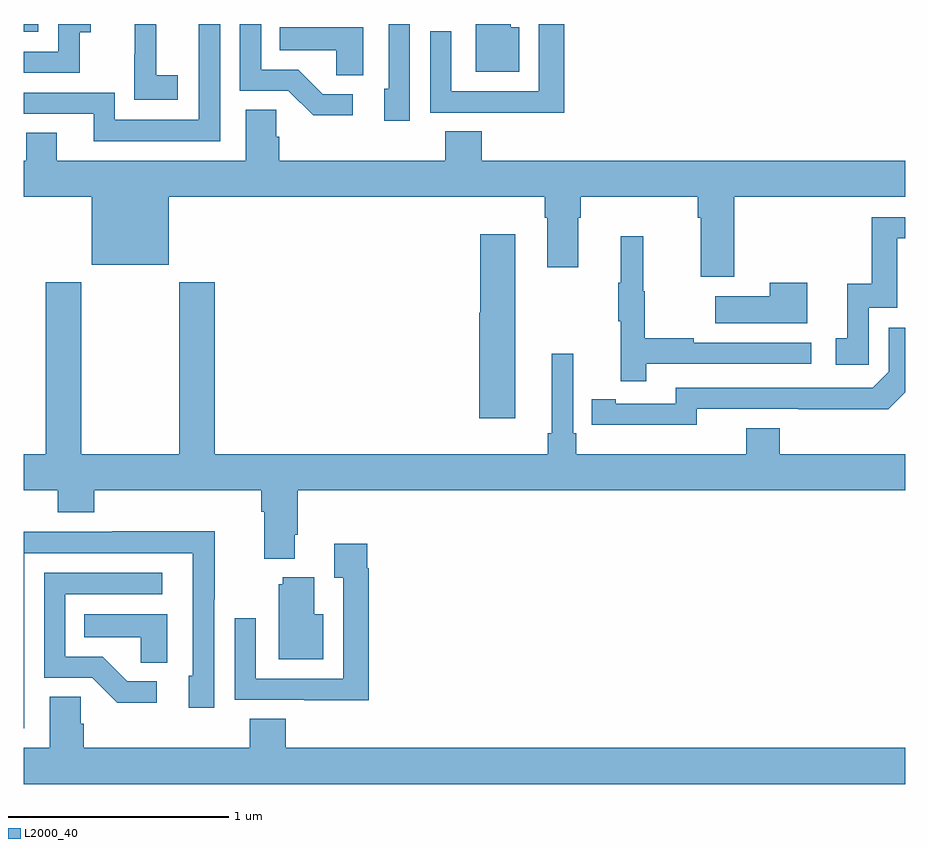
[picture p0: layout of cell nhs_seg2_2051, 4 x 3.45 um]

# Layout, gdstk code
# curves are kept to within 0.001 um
import gdstk
lib = gdstk.Library(unit=1e-6, precision=1e-09)
def R(c, l, rs):  # rectangles x0, y0, x1, y1
    for r in rs: c.add(gdstk.rectangle(r[:2], r[2:], *l))
def P(c, l, *ps):  # polygons
    for p in ps: c.add(gdstk.Polygon(p, *l))
L2000_40 = (2000, 40)

nhs_seg2_2051 = lib.new_cell('nhs_seg2_2051')
R(nhs_seg2_2051, L2000_40, [(219,601.764,219.066,601.8)])
P(nhs_seg2_2051, L2000_40, [(221.248,601.786),(221.209,601.786),(221.209,601.8),(221.051,601.8),(221.051,601.583),(221.248,601.583)],
  [(219.255,601.763),(219.304,601.763),(219.304,601.8),(219.156,601.8),(219.156,601.674),(219,601.674),(219,601.578),(219.255,601.578)],
  [(220.752,601.8),(220.656,601.8),(220.656,601.506),(220.637,601.506),(220.637,601.362),(220.752,601.362)],
  [(219.7,601.567),(219.602,601.567),(219.602,601.796),(219.6,601.796),(219.6,601.8),(219.503,601.8),(219.503,601.663),(219.502,601.663),(219.502,601.457),(219.7,601.457)],
  [(220.492,601.482),(220.357,601.482),(220.246,601.593),(220.077,601.593),(220.077,601.8),(219.981,601.8),(219.981,601.497),(220.2,601.497),(220.313,601.385),(220.492,601.385)],
  [(221.453,601.8),(221.337,601.8),(221.337,601.494),(220.941,601.494),(220.941,601.768),(220.845,601.768),(220.845,601.398),(221.161,601.398),(221.161,601.397),(221.453,601.397)],
  [(219.891,601.8),(219.795,601.8),(219.795,601.365),(219.414,601.365),(219.414,601.488),(219,601.488),(219,601.392),(219.317,601.392),(219.317,601.269),(219.891,601.269)],
  [(220.54,601.786),(220.162,601.786),(220.162,601.682),(220.419,601.682),(220.419,601.567),(220.54,601.567)],
  [(219.308,600.707),(219.658,600.707),(219.658,601.016),(221.363,601.016),(221.363,600.92),(221.375,600.92),(221.375,600.696),(221.515,600.696),(221.515,600.92),(221.528,600.92),(221.528,601.016),(222.059,601.016),(222.059,600.92),(222.071,600.92),(222.071,600.654),(222.224,600.654),(222.224,601.016),(223,601.016),(223,601.18),(221.078,601.18),(221.078,601.313),(220.913,601.313),(220.913,601.18),(220.16,601.18),(220.16,601.289),(220.146,601.289),(220.146,601.412),(220.007,601.412),(220.007,601.18),(219.151,601.18),(219.151,601.307),(219.012,601.307),(219.012,601.18),(219,601.18),(219,601.016),(219.308,601.016)],
  [(222.834,600.513),(222.963,600.513),(222.963,600.828),(223,600.828),(223,600.924),(222.847,600.924),(222.847,600.622),(222.737,600.622),(222.737,600.375),(222.684,600.375),(222.684,600.255),(222.834,600.255)],
  [(221.23,600.847),(221.072,600.847),(221.072,600.489),(221.066,600.489),(221.066,600.012),(221.23,600.012)],
  [(221.825,600.258),(222.574,600.258),(222.574,600.354),(222.041,600.354),(222.041,600.374),(221.818,600.374),(221.818,600.588),(221.81,600.588),(221.81,600.838),(221.708,600.838),(221.708,600.625),(221.697,600.625),(221.697,600.451),(221.708,600.451),(221.708,600.18),(221.825,600.18)],
  [(220.231,599.482),(220.244,599.482),(220.244,599.684),(223,599.684),(223,599.848),(222.431,599.848),(222.431,599.965),(222.278,599.965),(222.278,599.848),(221.507,599.848),(221.507,599.944),(221.493,599.944),(221.493,600.304),(221.396,600.304),(221.396,599.944),(221.377,599.944),(221.377,599.848),(219.866,599.848),(219.866,600.628),(219.706,600.628),(219.706,599.848),(219.261,599.848),(219.261,600.628),(219.101,600.628),(219.101,599.848),(219,599.848),(219,599.684),(219.155,599.684),(219.155,599.585),(219.32,599.585),(219.32,599.684),(220.079,599.684),(220.079,599.588),(220.091,599.588),(220.091,599.375),(220.231,599.375)],
  [(222.556,600.625),(222.386,600.625),(222.386,600.565),(222.137,600.565),(222.137,600.443),(222.556,600.443)],
  [(222.054,600.054),(222.922,600.053),(223,600.13),(223,600.423),(222.924,600.423),(222.924,600.222),(222.852,600.15),(221.958,600.15),(221.958,600.078),(221.686,600.078),(221.686,600.098),(221.578,600.098),(221.578,599.982),(222.054,599.981)],
  [(219.003,599.4),(219.768,599.4),(219.768,598.842),(219.749,598.842),(219.749,598.698),(219.864,598.698),(219.864,599.191),(219.867,599.191),(219.867,599.498),(219.403,599.498),(219.403,599.496),(219,599.496),(219,598.605),(219.003,598.605)],
  [(220.565,599.33),(220.558,599.33),(220.558,599.443),(220.409,599.443),(220.409,599.287),(220.449,599.287),(220.449,598.83),(220.053,598.83),(220.053,599.104),(219.957,599.104),(219.957,598.734),(220.273,598.734),(220.273,598.733),(220.565,598.733)],
  [(219.604,598.818),(219.469,598.818),(219.358,598.929),(219.189,598.929),(219.189,599.214),(219.628,599.214),(219.628,599.31),(219.093,599.31),(219.093,598.833),(219.312,598.833),(219.425,598.721),(219.604,598.721)],
  [(220.36,599.122),(220.318,599.122),(220.318,599.29),(220.175,599.29),(220.175,599.259),(220.157,599.259),(220.157,598.919),(220.36,598.919)],
  [(219.652,599.122),(219.274,599.122),(219.274,599.018),(219.531,599.018),(219.531,598.903),(219.652,598.903)],
  [(223,598.516),(220.19,598.516),(220.19,598.649),(220.025,598.649),(220.025,598.516),(219.272,598.516),(219.272,598.625),(219.258,598.625),(219.258,598.748),(219.119,598.748),(219.119,598.516),(219,598.516),(219,598.352),(223,598.352)])

lib.write_gds('nhs_seg2_2051.gds')
